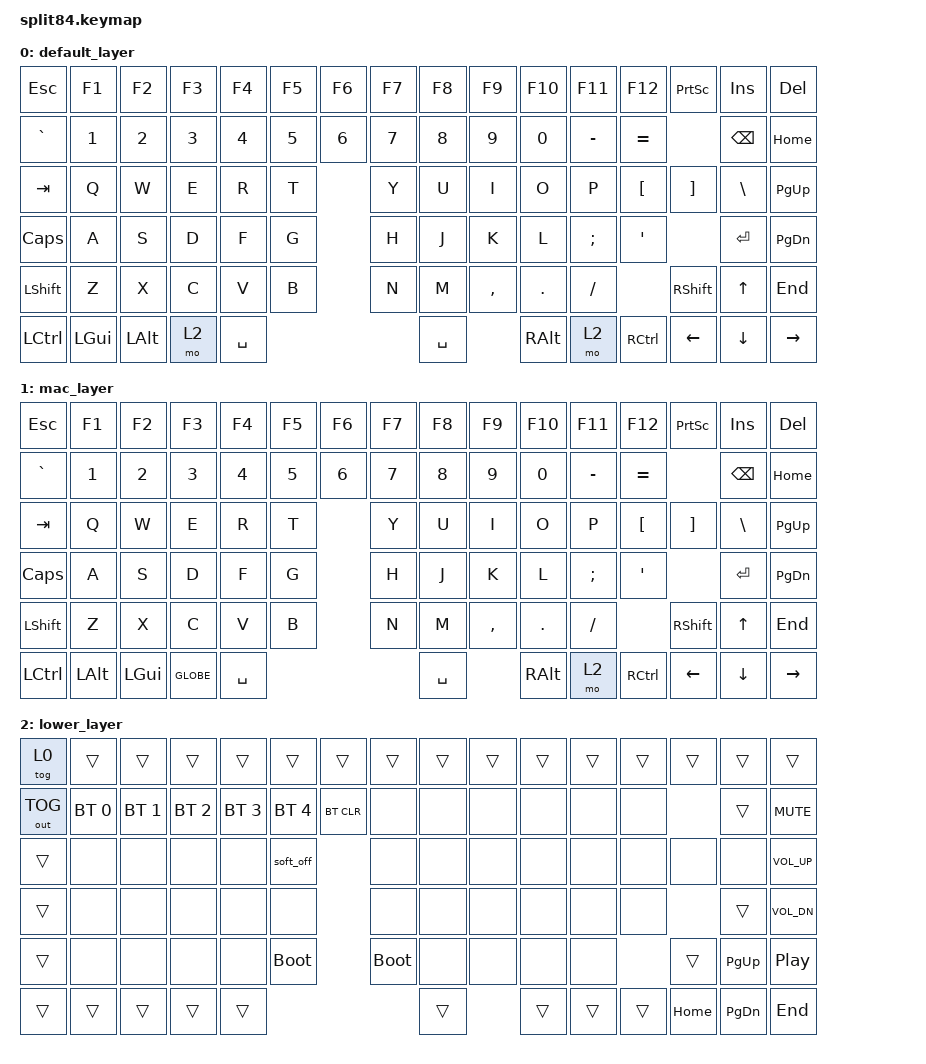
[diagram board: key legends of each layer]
/*
 * Copyright (c) 2020 The ZMK Contributors
 *
 * SPDX-License-Identifier: MIT
 */

#include <behaviors.dtsi>
#include <dt-bindings/zmk/keys.h>
#include <dt-bindings/zmk/bt.h>
#include <dt-bindings/zmk/outputs.h>

&soft_off {
    hold-time-ms = <2000>; // Only turn off it the key is held for 2 seconds or longer.
};

/ {
    keymap {
        compatible = "zmk,keymap";

        default_layer {
            bindings = <
&kp ESC    &kp F1    &kp F2    &kp F3    &kp F4    &kp F5    &kp F6    &kp F7    &kp F8    &kp F9    &kp F10   &kp F11   &kp F12   &kp PSCRN &kp INS   &kp DEL
&kp GRAVE  &kp N1    &kp N2    &kp N3    &kp N4    &kp N5    &kp N6    &kp N7    &kp N8    &kp N9    &kp N0    &kp MINUS &kp EQUAL           &kp BSPC  &kp HOME
&kp TAB    &kp Q     &kp W     &kp E     &kp R     &kp T               &kp Y     &kp U     &kp I     &kp O     &kp P     &kp LBKT  &kp RBKT  &kp BSLH  &kp PG_UP
&kp CAPS   &kp A     &kp S     &kp D     &kp F     &kp G               &kp H     &kp J     &kp K     &kp L     &kp SEMI  &kp SQT             &kp RET   &kp PG_DN
&kp LSHFT  &kp Z     &kp X     &kp C     &kp V     &kp B               &kp N     &kp M     &kp COMMA &kp DOT   &kp FSLH            &kp RSHFT &kp UP    &kp END
&kp LCTRL  &kp LGUI  &kp LALT  &mo 2     &kp SPACE                               &kp SPACE           &kp RALT  &mo 2     &kp RCTRL &kp LEFT  &kp DOWN  &kp RIGHT 	
            >;
        };

mac_layer {
            bindings = <
&kp ESC    &kp F1    &kp F2    &kp F3    &kp F4    &kp F5    &kp F6    &kp F7    &kp F8    &kp F9    &kp F10   &kp F11   &kp F12   &kp PSCRN &kp INS   &kp DEL
&kp GRAVE  &kp N1    &kp N2    &kp N3    &kp N4    &kp N5    &kp N6    &kp N7    &kp N8    &kp N9    &kp N0    &kp MINUS &kp EQUAL           &kp BSPC  &kp HOME
&kp TAB    &kp Q     &kp W     &kp E     &kp R     &kp T               &kp Y     &kp U     &kp I     &kp O     &kp P     &kp LBKT  &kp RBKT  &kp BSLH  &kp PG_UP
&kp CAPS   &kp A     &kp S     &kp D     &kp F     &kp G               &kp H     &kp J     &kp K     &kp L     &kp SEMI  &kp SQT             &kp RET   &kp PG_DN
&kp LSHFT  &kp Z     &kp X     &kp C     &kp V     &kp B               &kp N     &kp M     &kp COMMA &kp DOT   &kp FSLH            &kp RSHFT &kp UP    &kp END
&kp LCTRL  &kp LALT  &kp LGUI  &kp GLOBE     &kp SPACE                               &kp SPACE           &kp RALT  &mo 2     &kp RCTRL &kp LEFT  &kp DOWN  &kp RIGHT 	
            >;
        };   

        lower_layer {
            bindings = <
&tog 0      &trans         &trans         &trans          &trans         &trans        &trans      &trans        &trans        &trans        &trans        &trans        &trans        &trans       &trans       &trans  
&out OUT_TOG   &bt BT_SEL 0   &bt BT_SEL 1   &bt BT_SEL 2    &bt BT_SEL 3   &bt BT_SEL 4  &bt BT_CLR  &none         &none         &none         &none         &none         &none                      &trans       &kp C_MUTE  
&trans         &none          &none          &none           &none          &soft_off                 &none         &none         &none         &none         &none         &none         &none        &none        &kp C_VOL_UP    
&trans         &none          &none          &none           &none          &none                     &none         &none         &none         &none         &none         &none                      &trans       &kp C_VOL_DN    
&trans         &none          &none          &none           &none          &bootloader               &bootloader   &none         &none         &none         &none                       &trans       &kp PG_UP    &kp C_PLAY_PAUSE    
&trans         &trans         &trans         &trans          &trans                                                 &trans                      &trans        &trans        &trans        &kp HOME     &kp PG_DN    &kp END  
	
            >;
        };     

    };
};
